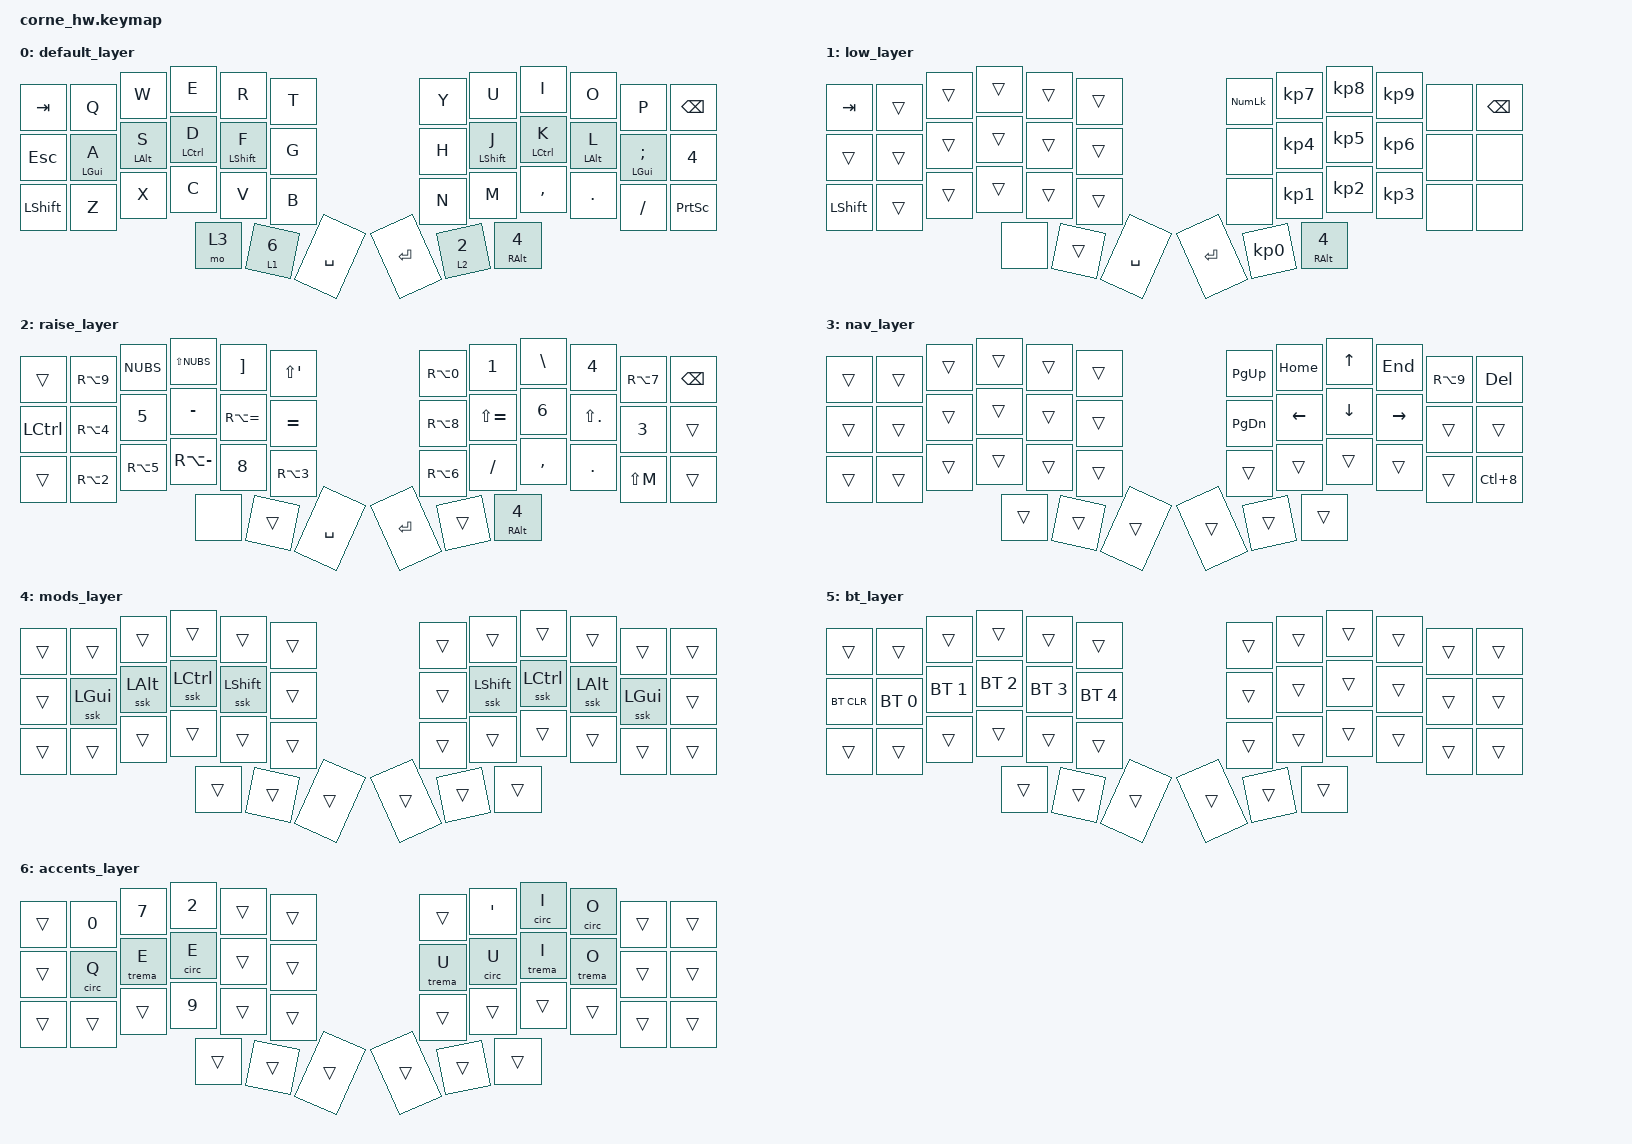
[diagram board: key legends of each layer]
#include <behaviors.dtsi>
#include <dt-bindings/zmk/bt.h>
#include <dt-bindings/zmk/keys.h>

/ {
    /*
     * Home-row mods only become modifiers when the next key is on the
     * other hand or a thumb: the same-hand rule, enforced (FEAT-6).
     * Shift has no require-prior-idle-ms so capitals stay instant.
     */

    behaviors {
        /*
         * ZMK's &sl and &sk, waiting 1.5 s for the next key instead of
         * 1 s (FEAT-14). Copies here rather than overrides of &sl/&sk,
         * which the keymap-editor might not keep.
         */

        ssl: slow_sticky_layer {
            compatible = "zmk,behavior-sticky-key";
            #binding-cells = <1>;
            release-after-ms = <1500>;
            bindings = <&mo>;
            quick-release;
        };

        ssk: slow_sticky_key {
            compatible = "zmk,behavior-sticky-key";
            #binding-cells = <1>;
            release-after-ms = <1500>;
            bindings = <&kp>;
            ignore-modifiers;
        };

        /*
         * AZERTY's dead keys, then the vowel: ê â î ô û and ë ï ö ü for
         * the Accents layer (FEAT-16). `[` is the ^ dead key on AZERTY,
         * Shift+`[` the ¨ one.
         */

        circ: dead_circumflex_then {
            compatible = "zmk,behavior-macro-one-param";
            #binding-cells = <1>;
            bindings = <&kp LBKT &macro_param_1to1 &kp MACRO_PLACEHOLDER>;
        };

        trema: dead_diaeresis_then {
            compatible = "zmk,behavior-macro-one-param";
            #binding-cells = <1>;
            bindings = <&kp LS(LBKT) &macro_param_1to1 &kp MACRO_PLACEHOLDER>;
        };

        /*
         * Raise and Low thumbs: holding one is its layer; tapping it
         * alone makes the next key one from a layer, either hand: a raise
         * symbol (FEAT-10, FEAT-14), an accent from Low (FEAT-16).
         * Balanced (BUG-9): the hold once another key is pressed and
         * released, or past 150 ms; a fast roll that lets go of the
         * thumb first is the tap, so it still gives the accent. No
         * quick-tap-ms: tap then hold must give the hold.
         */

        ltsl: layer_tap_sticky_layer {
            compatible = "zmk,behavior-hold-tap";
            #binding-cells = <2>;
            flavor = "balanced";
            tapping-term-ms = <150>;
            bindings = <&mo>, <&ssl>;
        };

        /*
         * AltGr thumb: holding it is AltGr as soon as another key is
         * pressed; tapping it alone opens the one-shot Mods layer
         * (FEAT-7, FEAT-14). Hold-preferred, unlike ltsl since BUG-9:
         * AltGr is never held by hand, so a roll has nothing to lose.
         */

        mtsl: mod_tap_sticky_layer {
            compatible = "zmk,behavior-hold-tap";
            #binding-cells = <2>;
            flavor = "hold-preferred";
            tapping-term-ms = <150>;
            bindings = <&kp>, <&ssl>;
        };

        /* Left GUI, Alt, Ctrl */

        hml: home_row_mod_left {
            compatible = "zmk,behavior-hold-tap";
            #binding-cells = <2>;
            flavor = "balanced";
            tapping-term-ms = <280>;
            quick-tap-ms = <175>;
            require-prior-idle-ms = <150>;
            hold-trigger-key-positions = <6 7 8 9 10 11 18 19 20 21 22 23 30 31 32 33 34 35 36 37 38 39 40 41>;
            hold-trigger-on-release;
            bindings = <&kp>, <&kp>;
        };

        /* Right GUI, Alt, Ctrl */

        hmr: home_row_mod_right {
            compatible = "zmk,behavior-hold-tap";
            #binding-cells = <2>;
            flavor = "balanced";
            tapping-term-ms = <280>;
            quick-tap-ms = <175>;
            require-prior-idle-ms = <150>;
            hold-trigger-key-positions = <0 1 2 3 4 5 12 13 14 15 16 17 24 25 26 27 28 29 36 37 38 39 40 41>;
            hold-trigger-on-release;
            bindings = <&kp>, <&kp>;
        };

        /* Left Shift */

        hsl: home_row_shift_left {
            compatible = "zmk,behavior-hold-tap";
            #binding-cells = <2>;
            flavor = "balanced";
            tapping-term-ms = <200>; /* FEAT-6: shorter than hml/hmr, so a quick capital (f+i) is Shift, not "fi" */
            quick-tap-ms = <175>;
            hold-trigger-key-positions = <6 7 8 9 10 11 18 19 20 21 22 23 30 31 32 33 34 35 36 37 38 39 40 41>;
            hold-trigger-on-release;
            bindings = <&kp>, <&kp>;
        };

        /* Right Shift */

        hsr: home_row_shift_right {
            compatible = "zmk,behavior-hold-tap";
            #binding-cells = <2>;
            flavor = "balanced";
            tapping-term-ms = <200>; /* FEAT-6: shorter than hml/hmr, so a quick capital (f+i) is Shift, not "fi" */
            quick-tap-ms = <175>;
            hold-trigger-key-positions = <0 1 2 3 4 5 12 13 14 15 16 17 24 25 26 27 28 29 36 37 38 39 40 41>;
            hold-trigger-on-release;
            bindings = <&kp>, <&kp>;
        };
    };

    keymap {
        compatible = "zmk,keymap";

        default_layer {
            bindings = <
&kp TAB  &kp Q  &kp W  &kp E  &kp R  &kp T  &kp Y  &kp U  &kp I  &kp O  &kp P  &kp BSPC  &kp ESC  &hml LGUI A  &hml LALT S  &hml LCTRL D  &hsl LSHFT F  &kp G  &kp H  &hsr LSHFT J  &hmr LCTRL K  &hmr LALT L  &hmr LGUI SEMI  &kp N4  &kp LSHFT  &kp Z  &kp X  &kp C  &kp V  &kp B  &kp N  &kp M  &kp COMMA  &kp DOT  &kp FSLH  &kp PRINTSCREEN  &mo 3  &ltsl 1 6  &kp SPACE  &kp RET  &ltsl 2 2  &mtsl RALT 4
            >;
        };

        low_layer {
            bindings = <
&kp TAB  &trans  &trans  &trans  &trans  &trans  &kp KP_NUM  &kp KP_N7  &kp KP_N8  &kp KP_N9  &none  &kp BSPC  &trans  &trans  &trans  &trans  &trans  &trans  &none  &kp KP_N4  &kp KP_N5  &kp KP_N6  &none  &none  &kp LSHFT  &trans  &trans  &trans  &trans  &trans  &none  &kp KP_N1  &kp KP_N2  &kp KP_N3  &none  &none  &none  &trans  &kp SPACE  &kp RET  &kp KP_N0  &mtsl RALT 4
            >;
        };

        raise_layer {
            bindings = <
&trans  &kp RA(N9)  &kp NUBS  &kp LS(NUBS)  &kp RBKT  &kp LS(SQT)  &kp RA(N0)  &kp N1  &kp BSLH  &kp N4  &kp RA(N7)  &kp BSPC  &kp LCTRL  &kp RA(N4)  &kp N5  &kp MINUS  &kp RA(EQUAL)  &kp EQUAL  &kp RA(N8)  &kp LS(EQUAL)  &kp N6  &kp LS(DOT)  &kp N3  &trans  &trans  &kp RA(N2)  &kp RA(N5)  &kp RA(MINUS)  &kp N8  &kp RA(N3)  &kp RA(N6)  &kp FSLH  &kp COMMA  &kp DOT  &kp LS(M)  &trans  &none  &trans  &kp SPACE  &kp RET  &trans  &mtsl RALT 4
            >;
        };

        nav_layer {
            bindings = <
&trans  &trans  &trans  &trans  &trans  &trans  &kp PG_UP  &kp HOME  &kp UP  &kp END  &kp RA(N9)  &kp DEL  &trans  &trans  &trans  &trans  &trans  &trans  &kp PG_DN  &kp LEFT  &kp DOWN  &kp RIGHT  &trans  &trans  &trans  &trans  &trans  &trans  &trans  &trans  &trans  &trans  &trans  &trans  &trans  &kp LC(N8)  &trans  &trans  &trans  &trans  &trans  &trans
            >;
        };

        /*
         * One-shot modifiers (FEAT-7), opened by tapping AltGr (FEAT-14):
         * each tap sets one modifier for the next key and closes the
         * layer, so the home-row letters stay typeable. Tap AltGr again
         * to add one.
         */

        mods_layer {
            bindings = <
&trans  &trans  &trans  &trans  &trans  &trans  &trans  &trans  &trans  &trans  &trans  &trans  &trans  &ssk LGUI  &ssk LALT  &ssk LCTRL  &ssk LSHFT  &trans  &trans  &ssk LSHFT  &ssk LCTRL  &ssk LALT  &ssk LGUI  &trans  &trans  &trans  &trans  &trans  &trans  &trans  &trans  &trans  &trans  &trans  &trans  &trans  &trans  &trans  &trans  &trans  &trans  &trans
            >;
        };

        /*
         * Bluetooth (BUG-4), where it was on Low, but only while Low and
         * Raise are both held (the conditional layer below), so a slip on
         * Low can't switch or clear a profile.
         */

        bt_layer {
            bindings = <
&trans  &trans  &trans  &trans  &trans  &trans  &trans  &trans  &trans  &trans  &trans  &trans  &bt BT_CLR  &bt BT_SEL 0  &bt BT_SEL 1  &bt BT_SEL 2  &bt BT_SEL 3  &bt BT_SEL 4  &trans  &trans  &trans  &trans  &trans  &trans  &trans  &trans  &trans  &trans  &trans  &trans  &trans  &trans  &trans  &trans  &trans  &trans  &trans  &trans  &trans  &trans  &trans  &trans
            >;
        };

        /*
         * Accents (FEAT-16), opened by tapping Low: one accented letter,
         * from the vowel's key or the one beside or under it, then the
         * layer closes. Inspired by Lafayette's single dead key.
         */

        accents_layer {
            bindings = <
&trans  &kp N0  &kp N7  &kp N2  &trans  &trans  &trans  &kp SQT  &circ I  &circ O  &trans  &trans  &trans  &circ Q  &trema E  &circ E  &trans  &trans  &trema U  &circ U  &trema I  &trema O  &trans  &trans  &trans  &trans  &trans  &kp N9  &trans  &trans  &trans  &trans  &trans  &trans  &trans  &trans  &trans  &trans  &trans  &trans  &trans  &trans
            >;
        };
    };

    /* Low + Raise held together open the BT layer (BUG-4). */

    conditional_layers {
        compatible = "zmk,conditional-layers";

        bt_low_raise {
            if-layers = <1 2>;
            then-layer = <5>;
        };
    };
};
